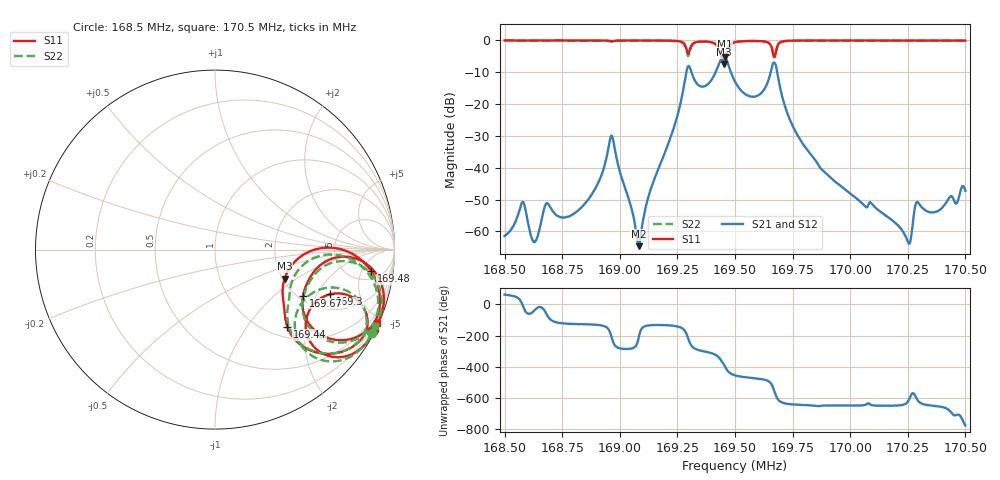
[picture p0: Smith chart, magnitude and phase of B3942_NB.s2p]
! Matrix data file written by TouchstoneData, EPCOS AG
! FILENAME: "B3942_NB.s2p"
! COMMENT: "B3942 un-matching S-parameter"
! INFO: nport=2, nfreq=1601
! DATE: "Tue Nov 13 17:27:18 2012"
! USER: "Eluer Wang"
! port | pin | signal
!  1  |  1  |  in
!  2  |  5  |  out
# MHZ S MA R 50
! freq  magS11 angS11  magS21 angS21  magS12 angS12  magS22 angS22
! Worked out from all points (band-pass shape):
!   1601 points, 168.5 MHz to 170.5 MHz, reference 50 ohm
!   highest |S21| = -5.12 dB at 169.46 MHz (marker M1); lowest = -64.6 dB at 169.08 MHz (marker M2)
!   |S21| within 3 dB of the highest: 169.4263 MHz to 169.4731 MHz (46.77 kHz wide, 0.0276 % of centre); 169.6613 MHz to 169.6781 MHz (16.78 kHz wide, 0.00989 % of centre) (the widest 2 of 3)
!   lowest |S11| = -7.5 dB at 169.45 MHz (marker M3), VSWR 2.45, Z = 103 - j40.4 ohm
!   |S11| at or under -10 dB: nowhere
!   |S22| runs from -6.7 to -0.1 dB; largest |S21 - S12| = 0.005
!   S11 on the Smith chart (normalised r, x): 168.5 MHz: 0.04, -4.19; 169.3 MHz: 2.77, -2.61; 169.44 MHz: 1.20, -1.59; 169.48 MHz: 7, -8; 169.67 MHz: 2.13, -1.57; 170.5 MHz: 0.09, -4.63
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168.5  0.9958 -26.8  0.0008458 64.0  0.0008459 64.7  0.9923 -28.1
168.5775  0.9922 -27.0  0.002891 -1.2  0.00287 -0.8  0.9906 -28.2
168.6287  0.9954 -27.0  0.000679 -39.5  0.000675 -38.6  0.9916 -28.3
168.6825  0.9946 -27.1  0.002766 -63.8  0.002749 -63.4  0.9886 -28.4
168.8338  0.9958 -27.7  0.002382 -126.6  0.002378 -126.4  0.9919 -29.0
168.965  0.9676 -28.0  0.0318 145.8  0.03162 146.1  0.9569 -29.2
169.0825  0.9948 -29.1  0.0005864 150.5  0.000598 151.1  0.9908 -30.4
169.1675  0.9927 -30.7  0.009648 -131.9  0.009606 -131.7  0.9887 -32.1
169.3025  0.6882 -21.2  0.3832 118.3  0.3808 118.6  0.6445 -19.5
169.365  0.9575 -30.4  0.1888 58.2  0.1877 58.5  0.9529 -30.6
169.4387  0.5909 -46.9  0.4945 1.2  0.4912 1.5  0.5851 -45.7
169.4525  0.4201 -22.7  0.55 -27.8  0.5465 -27.4  0.464 -21.8
169.455  0.4304 -13.3  0.5545 -34.7  0.5512 -34.3  0.4748 -14.6
169.4837  0.8784 -7.9  0.3049 -86.6  0.3033 -86.3  0.8798 -9.9
169.5  0.935 -13.1  0.225 -96.3  0.2238 -96.0  0.9338 -14.8
169.595  0.9765 -24.2  0.1337 -116.1  0.133 -115.7  0.974 -25.4
169.6687  0.5531 -27.6  0.4489 170.0  0.4464 170.4  0.5617 -29.3
169.8338  0.9941 -21.3  0.01552 69.6  0.01543 70.0  0.9896 -22.6
170.1675  0.996 -23.8  0.001643 68.4  0.001627 68.8  0.9919 -25.0
170.255  0.9956 -24.1  0.0006403 105.8  0.0006499 106.0  0.9914 -25.3
170.29  0.9941 -24.1  0.002902 109.8  0.002884 110.3  0.9896 -25.3
170.5  0.992 -24.3  0.004341 -58.9  0.004312 -58.4  0.9882 -25.6
